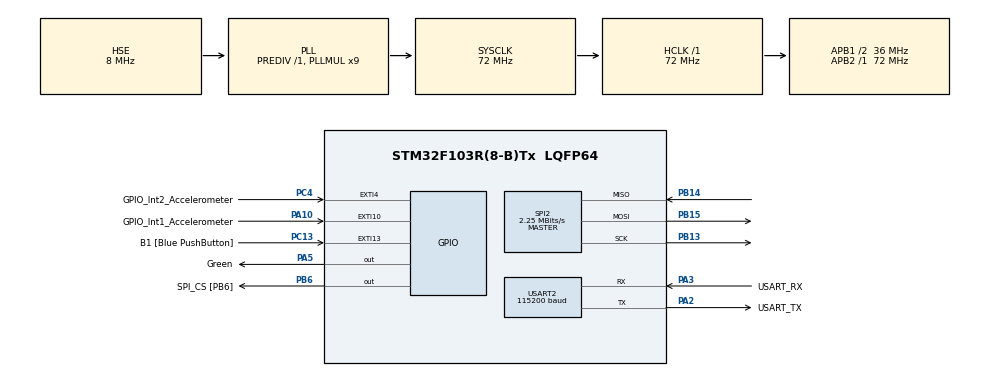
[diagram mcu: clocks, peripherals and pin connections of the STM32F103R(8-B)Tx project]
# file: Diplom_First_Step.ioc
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Dma.Request0=SPI2_RX
Dma.Request1=SPI2_TX
Dma.SPI2_RX.0.Direction=DMA_PERIPH_TO_MEMORY
Dma.SPI2_RX.0.Instance=DMA1_Channel4
Dma.SPI2_RX.0.MemDataAlignment=DMA_MDATAALIGN_BYTE
Dma.SPI2_RX.0.MemInc=DMA_MINC_ENABLE
Dma.SPI2_RX.0.Mode=DMA_NORMAL
Dma.SPI2_RX.0.PeriphDataAlignment=DMA_PDATAALIGN_BYTE
Dma.SPI2_RX.0.PeriphInc=DMA_PINC_DISABLE
Dma.SPI2_RX.0.Priority=DMA_PRIORITY_LOW
Dma.SPI2_TX.1.Direction=DMA_MEMORY_TO_PERIPH
Dma.SPI2_TX.1.Instance=DMA1_Channel5
Dma.SPI2_TX.1.MemDataAlignment=DMA_MDATAALIGN_BYTE
Dma.SPI2_TX.1.MemInc=DMA_MINC_ENABLE
Dma.SPI2_TX.1.Mode=DMA_NORMAL
Dma.SPI2_TX.1.PeriphDataAlignment=DMA_PDATAALIGN_BYTE
Dma.SPI2_TX.1.PeriphInc=DMA_PINC_DISABLE
Dma.SPI2_TX.1.Priority=DMA_PRIORITY_LOW
FREERTOS.Tasks01=defaultTask,1,128,Settings_Controll_Task,Default,NULL,Dynamic,NULL,NULL
FREERTOS.configTOTAL_HEAP_SIZE=15700
FREERTOS.configUSE_COUNTING_SEMAPHORES=1
FREERTOS.configUSE_MALLOC_FAILED_HOOK=1
FREERTOS.configUSE_NEWLIB_REENTRANT=1
Mcu.Family=STM32F1
Mcu.Name=STM32F103R(8-B)Tx
Mcu.Package=LQFP64
NVIC.DMA1_Channel4_IRQn=true\:5\:0\:false\:false\:true\:true\:false\:true
NVIC.DMA1_Channel5_IRQn=true\:5\:0\:false\:false\:true\:true\:false\:true
NVIC.EXTI15_10_IRQn=true\:5\:0\:false\:false\:true\:true\:true\:true
NVIC.PriorityGroup=NVIC_PRIORITYGROUP_4
NVIC.SPI2_IRQn=true\:5\:0\:false\:false\:true\:true\:true\:true
NVIC.TIM4_IRQn=true\:15\:0\:false\:false\:true\:false\:false\:true
NVIC.TimeBase=TIM4_IRQn
NVIC.TimeBaseIP=TIM4
NVIC.USART2_IRQn=true\:5\:0\:false\:false\:true\:true\:true\:true
PA10.GPIO_Label=GPIO_Int1_Accelerometer
PA10.Signal=GPXTI10
PA13.GPIO_Label=TMS
PA13.Mode=Serial_Wire
PA13.Signal=SYS_JTMS-SWDIO
PA14.GPIO_Label=TCK
PA14.Mode=Serial_Wire
PA14.Signal=SYS_JTCK-SWCLK
PA2.GPIO_Label=USART_TX
PA2.GPIO_Mode=GPIO_MODE_AF_PP
PA2.GPIO_PuPd=GPIO_NOPULL
PA2.GPIO_Speed=GPIO_SPEED_FREQ_LOW
PA2.Mode=Asynchronous
PA2.Signal=USART2_TX
PA3.GPIO_Label=USART_RX
PA3.GPIO_Mode=GPIO_MODE_AF_PP
PA3.GPIO_PuPd=GPIO_NOPULL
PA3.GPIO_Speed=GPIO_SPEED_FREQ_LOW
PA3.Mode=Asynchronous
PA3.Signal=USART2_RX
PA5.GPIO_Label=Green
PA5.Signal=GPIO_Output
PB13.Mode=Full_Duplex_Master
PB13.Signal=SPI2_SCK
PB14.Mode=Full_Duplex_Master
PB14.Signal=SPI2_MISO
PB15.Mode=Full_Duplex_Master
PB15.Signal=SPI2_MOSI
PB3.GPIO_Label=SWO
PB3.Signal=SYS_JTDO-TRACESWO
PB6.GPIO_Label=SPI_CS [PB6]
PB6.GPIO_ModeDefaultOutputPP=GPIO_MODE_OUTPUT_PP
PB6.GPIO_Speed=GPIO_SPEED_FREQ_HIGH
PB6.Signal=GPIO_Output
PC13-TAMPER-RTC.GPIO_Label=B1 [Blue PushButton]
PC13-TAMPER-RTC.GPIO_PuPd=GPIO_NOPULL
PC13-TAMPER-RTC.Signal=GPXTI13
PC14-OSC32_IN.Mode=LSE-External-Oscillator
PC14-OSC32_IN.Signal=RCC_OSC32_IN
PC15-OSC32_OUT.Mode=LSE-External-Oscillator
PC15-OSC32_OUT.Signal=RCC_OSC32_OUT
PC4.GPIO_Label=GPIO_Int2_Accelerometer
PC4.Signal=GPXTI4
PD0-OSC_IN.Mode=HSE-External-Clock-Source
PD0-OSC_IN.Signal=RCC_OSC_IN
PD1-OSC_OUT.Mode=HSE-External-Clock-Source
PD1-OSC_OUT.Signal=RCC_OSC_OUT
ProjectManager.HeapSize=0x800
ProjectManager.StackSize=0x8000
ProjectManager.TargetToolchain=STM32CubeIDE
RCC.AHBFreq_Value=72000000
RCC.APB1CLKDivider=RCC_HCLK_DIV2
RCC.APB1Freq_Value=36000000
RCC.APB1TimFreq_Value=72000000
RCC.APB2Freq_Value=72000000
RCC.APB2TimFreq_Value=72000000
RCC.HCLKFreq_Value=72000000
RCC.PLLMUL=RCC_PLL_MUL9
RCC.PLLSourceVirtual=RCC_PLLSOURCE_HSE
RCC.RTCClockSelection=RCC_RTCCLKSOURCE_LSE
RCC.SYSCLKFreq_VALUE=72000000
RCC.SYSCLKSource=RCC_SYSCLKSOURCE_PLLCLK
RCC.USBFreq_Value=72000000
SPI2.BaudRatePrescaler=SPI_BAUDRATEPRESCALER_16
SPI2.CLKPhase=SPI_PHASE_2EDGE
SPI2.CLKPolarity=SPI_POLARITY_HIGH
SPI2.CalculateBaudRate=2.25 MBits/s
SPI2.Direction=SPI_DIRECTION_2LINES
SPI2.Mode=SPI_MODE_MASTER
SPI2.VirtualType=VM_MASTER
USART2.BaudRate=115200
USART2.VirtualMode=VM_ASYNC
VP_FREERTOS_VS_CMSIS_V1.Mode=CMSIS_V1
VP_SYS_VS_tim4.Mode=TIM4
board=NUCLEO-F103RB

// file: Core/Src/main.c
/* USER CODE BEGIN Header */
/**
  ******************************************************************************
  * @file           : main.c
  * @brief          : Main program body
  ******************************************************************************
  * @attention
  *
  * <h2><center>&copy; Copyright (c) 2021 STMicroelectronics.
  * All rights reserved.</center></h2>
  *
  * This software component is licensed by ST under BSD 3-Clause license,
  * the "License"; You may not use this file except in compliance with the
  * License. You may obtain a copy of the License at:
  *                        opensource.org/licenses/BSD-3-Clause
  *
  ******************************************************************************
  */
/*	Подключение акселерометра к микроконтроллеру
 * 	Акселерометр 	STM32F103RB - NUCLEO_F103RB
 * 		GND					   GND
 * 		VCC				   CN07 - PIN16
 * 		CS				   CN10 - PIN17
 * 	   INT1				   ------------
 * 	   INT2				   ------------
 * 	  	SDO				   CN10 - PIN13
 * 		SDA				   CN10 - PIN15
 * 		SCL				   CN10 - PIN11
 *
 */
/* USER CODE END Header */
#include "main.h"
#include "cmsis_os.h"

/* USER CODE BEGIN Includes */

/*	HAL_FREERTOS	*/
#include 	"exti_freertos.h"
#include 	"uart_cobs_service.h"
#include 	"uart_freertos.h"
/*	Acceleration sensor	*/
#include 	"adxl345.h"
#include 	"adxl345_rtos.h"
/*	Task	*/
#include 	"Collector_Math_Task.h"

//#define 	Debug_Active

#ifdef 		Debug_Active
	#include 	"stdio.h"
	#include 	<string.h>
#endif
/* USER CODE END Includes */

SPI_HandleTypeDef hspi2;
DMA_HandleTypeDef hdma_spi2_rx;
DMA_HandleTypeDef hdma_spi2_tx;

UART_HandleTypeDef huart2;

osThreadId defaultTaskHandle;
/* USER CODE BEGIN PV */

uart_cobs_service_t 		Cobs_UART;

adxl345_handle_t 			hadxl_settings;
adxl345_task_handle_t 		hadxl_task;
spi_freertos_t				spi_rtos;
User_Data_Settings_TypeDef  Setting_TypeDef;

/* USER CODE END PV */

void SystemClock_Config(void);
static void MX_GPIO_Init(void);
static void MX_USART2_UART_Init(void);
static void MX_DMA_Init(void);
static void MX_SPI2_Init(void);
void Settings_Controll_Task(void const * argument);

int main(void)
{

  /* MCU Configuration--------------------------------------------------------*/

  /* Reset of all peripherals, Initializes the Flash interface and the Systick. */
  HAL_Init();

  /* Configure the system clock */
  SystemClock_Config();

  /* Initialize all configured peripherals */
  MX_GPIO_Init();
  MX_USART2_UART_Init();
  MX_DMA_Init();
  MX_SPI2_Init();

  /* Create the thread(s) */
  /* definition and creation of defaultTask */
  osThreadDef(defaultTask, Settings_Controll_Task, osPriorityAboveNormal, 0, 128);
  defaultTaskHandle = osThreadCreate(osThread(defaultTask), NULL);

  /* Start scheduler */
  osKernelStart();

  /* We should never get here as control is now taken by the scheduler */
  /* Infinite loop */
  while (1)
  {

  }
}

void SystemClock_Config(void)
{
  RCC_OscInitTypeDef RCC_OscInitStruct = {0};
  RCC_ClkInitTypeDef RCC_ClkInitStruct = {0};

  /** Initializes the RCC Oscillators according to the specified parameters
  * in the RCC_OscInitTypeDef structure.
  */
  RCC_OscInitStruct.OscillatorType = RCC_OSCILLATORTYPE_HSE;
  RCC_OscInitStruct.HSEState = RCC_HSE_BYPASS;
  RCC_OscInitStruct.HSEPredivValue = RCC_HSE_PREDIV_DIV1;
  RCC_OscInitStruct.HSIState = RCC_HSI_ON;
  RCC_OscInitStruct.PLL.PLLState = RCC_PLL_ON;
  RCC_OscInitStruct.PLL.PLLSource = RCC_PLLSOURCE_HSE;
  RCC_OscInitStruct.PLL.PLLMUL = RCC_PLL_MUL9;
  if (HAL_RCC_OscConfig(&RCC_OscInitStruct) != HAL_OK)
  {
    Error_Handler();
  }
  /** Initializes the CPU, AHB and APB buses clocks
  */
  RCC_ClkInitStruct.ClockType = RCC_CLOCKTYPE_HCLK|RCC_CLOCKTYPE_SYSCLK
                              |RCC_CLOCKTYPE_PCLK1|RCC_CLOCKTYPE_PCLK2;
  RCC_ClkInitStruct.SYSCLKSource = RCC_SYSCLKSOURCE_PLLCLK;
  RCC_ClkInitStruct.AHBCLKDivider = RCC_SYSCLK_DIV1;
  RCC_ClkInitStruct.APB1CLKDivider = RCC_HCLK_DIV2;
  RCC_ClkInitStruct.APB2CLKDivider = RCC_HCLK_DIV1;

  if (HAL_RCC_ClockConfig(&RCC_ClkInitStruct, FLASH_LATENCY_2) != HAL_OK)
  {
    Error_Handler();
  }
}

static void MX_SPI2_Init(void)
{

  /* SPI2 parameter configuration*/
  hspi2.Instance = SPI2;
  hspi2.Init.Mode = SPI_MODE_MASTER;
  hspi2.Init.Direction = SPI_DIRECTION_2LINES;
  hspi2.Init.DataSize = SPI_DATASIZE_8BIT;
  hspi2.Init.CLKPolarity = SPI_POLARITY_HIGH;
  hspi2.Init.CLKPhase = SPI_PHASE_2EDGE;
  hspi2.Init.NSS = SPI_NSS_SOFT;
  hspi2.Init.BaudRatePrescaler = SPI_BAUDRATEPRESCALER_16;
  hspi2.Init.FirstBit = SPI_FIRSTBIT_MSB;
  hspi2.Init.TIMode = SPI_TIMODE_DISABLE;
  hspi2.Init.CRCCalculation = SPI_CRCCALCULATION_DISABLE;
  hspi2.Init.CRCPolynomial = 10;
  if (HAL_SPI_Init(&hspi2) != HAL_OK)
  {
    Error_Handler();
  }

}

static void MX_USART2_UART_Init(void)
{

  huart2.Instance = USART2;
  huart2.Init.BaudRate = 115200;
  huart2.Init.WordLength = UART_WORDLENGTH_8B;
  huart2.Init.StopBits = UART_STOPBITS_1;
  huart2.Init.Parity = UART_PARITY_NONE;
  huart2.Init.Mode = UART_MODE_TX_RX;
  huart2.Init.HwFlowCtl = UART_HWCONTROL_NONE;
  huart2.Init.OverSampling = UART_OVERSAMPLING_16;
  if (HAL_UART_Init(&huart2) != HAL_OK)
  {
    Error_Handler();
  }

}

static void MX_DMA_Init(void)
{

  /* DMA controller clock enable */
  __HAL_RCC_DMA1_CLK_ENABLE();

  /* DMA interrupt init */
  /* DMA1_Channel4_IRQn interrupt configuration */
  HAL_NVIC_SetPriority(DMA1_Channel4_IRQn, 5, 0);
  HAL_NVIC_EnableIRQ(DMA1_Channel4_IRQn);
  /* DMA1_Channel5_IRQn interrupt configuration */
  HAL_NVIC_SetPriority(DMA1_Channel5_IRQn, 5, 0);
  HAL_NVIC_EnableIRQ(DMA1_Channel5_IRQn);

}

static void MX_GPIO_Init(void)
{
  GPIO_InitTypeDef GPIO_InitStruct = {0};

  /* GPIO Ports Clock Enable */
  __HAL_RCC_GPIOC_CLK_ENABLE();
  __HAL_RCC_GPIOD_CLK_ENABLE();
  __HAL_RCC_GPIOA_CLK_ENABLE();
  __HAL_RCC_GPIOB_CLK_ENABLE();

  /*Configure GPIO pin Output Level */
  HAL_GPIO_WritePin(Green_GPIO_Port, Green_Pin, GPIO_PIN_RESET);

  /*Configure GPIO pin Output Level */
  HAL_GPIO_WritePin(SPI_CS_GPIO_Port, SPI_CS_Pin, GPIO_PIN_RESET);

  /*Configure GPIO pins : B1_Pin GPIO_Int2_Accelerometer_Pin */
  GPIO_InitStruct.Pin = B1_Pin|GPIO_Int2_Accelerometer_Pin;
  GPIO_InitStruct.Mode = GPIO_MODE_IT_RISING;
  GPIO_InitStruct.Pull = GPIO_NOPULL;
  HAL_GPIO_Init(GPIOC, &GPIO_InitStruct);

  /*Configure GPIO pin : Green_Pin */
  GPIO_InitStruct.Pin = Green_Pin;
  GPIO_InitStruct.Mode = GPIO_MODE_OUTPUT_PP;
  GPIO_InitStruct.Pull = GPIO_NOPULL;
  GPIO_InitStruct.Speed = GPIO_SPEED_FREQ_LOW;
  HAL_GPIO_Init(Green_GPIO_Port, &GPIO_InitStruct);

  /*Configure GPIO pin : GPIO_Int1_Accelerometer_Pin */
  GPIO_InitStruct.Pin = GPIO_Int1_Accelerometer_Pin;
  GPIO_InitStruct.Mode = GPIO_MODE_IT_RISING;
  GPIO_InitStruct.Pull = GPIO_NOPULL;
  HAL_GPIO_Init(GPIO_Int1_Accelerometer_GPIO_Port, &GPIO_InitStruct);

  /*Configure GPIO pin : SPI_CS_Pin */
  GPIO_InitStruct.Pin = SPI_CS_Pin;
  GPIO_InitStruct.Mode = GPIO_MODE_OUTPUT_PP;
  GPIO_InitStruct.Pull = GPIO_NOPULL;
  GPIO_InitStruct.Speed = GPIO_SPEED_FREQ_HIGH;
  HAL_GPIO_Init(SPI_CS_GPIO_Port, &GPIO_InitStruct);

  /* EXTI interrupt init*/
  HAL_NVIC_SetPriority(EXTI15_10_IRQn, 5, 0);
  HAL_NVIC_EnableIRQ(EXTI15_10_IRQn);

}

/* USER CODE BEGIN 4 */

/*void HAL_GPIO_EXTI_Callback(uint16_t GPIO_Pin)
{
	if(GPIO_Pin == GPIO_Int1_Accelerometer_Pin)
	{
		adxl345_int2(GPIO_Int1_Accelerometer_Pin, NULL);
	}
}*/
/* USER CODE END 4 */

void Settings_Controll_Task(void const * argument)
{
  /* USER CODE BEGIN 5 */
	//-----------------------------------------------------------------------------------------------//
	//---------------------------Base Configuration Accelerometr Struct------------------------------//
	//---------------------------**************************************------------------------------//
	//										SPI CONFIG												 //
	//***********************************************************************************************//
	hadxl_settings.spi.spi_rtos			=	&spi_rtos;
	hadxl_settings.spi.spi_rtos->hspi	=	&hspi2;
	if(spi_freertos_init(hadxl_settings.spi.spi_rtos) == SPI_FREERTOS_EXIST)
	{
		Error_Handler();
	}
	hadxl_settings.spi.nss.pin			=	SPI_CS_Pin;
	hadxl_settings.spi.nss.port 		=	SPI_CS_GPIO_Port;
	//***********************************************************************************************//
	//							        Format Read Accelertion										 //
	//***********************************************************************************************//
	hadxl_settings.settings.align		=	ADXL345_ALIGN_LSB;
	hadxl_settings.settings.resolution	=	ADXL345_RESOLUTION_FULL;
	//***********************************************************************************************//
	//							   Settings FIFO Buffer in accelerometr								 //
	//***********************************************************************************************//
	hadxl_settings.
				settings.fifo_watermark =	0x25;
	hadxl_settings.settings.fifo_mode 	=	ADXL345_FIFO_FIFO;
	hadxl_settings.settings.fifo_trigger=	ADXL345_FIFO_TRIG_INT1;
	//***********************************************************************************************//
	//					Interrupt Settings, GPIO Configuration, FREERTOS Controll					 //
	//***********************************************************************************************//
	hadxl_settings.settings.int_en 		=	ADXL345_INT_WATERMARK | ADXL345_INT_OVERRUN;
	hadxl_settings.settings.map_to_int2	=  ~ADXL345_INT_WATERMARK & ADXL345_INT_OVERRUN;
	hadxl_settings.int1.pin 			=	GPIO_Int1_Accelerometer_Pin;
	hadxl_settings.int1.port			=	GPIO_Int1_Accelerometer_GPIO_Port;
	hadxl_settings.int2.pin 			=	GPIO_Int2_Accelerometer_Pin;
	hadxl_settings.int2.port			=	GPIO_Int2_Accelerometer_GPIO_Port;
	hadxl_settings.mutex_timeout 		=	100;
	hadxl_settings.transfer_timeout 	=	100;
	//---------------------------**************************************------------------------------//
	//----------------------------Start Configure Settigs Task Struct--------------------------------//
	//-----------------------------------------------------------------------------------------------//
	Setting_TypeDef.Length_Realization	=	0;
	Setting_TypeDef.FStatus 			= 	Enable_Time;
	Setting_TypeDef.hadxl 				=	&hadxl_task;
					 hadxl_task.hadxl 	=	hadxl_settings;
					 hadxl_task.
					 	 fifo_frame_size=	128;
					 hadxl_task.
					 	 fifo_frame_qty =	2;
	Setting_TypeDef.TempStatus 			=	Temp_Enable;
	Setting_TypeDef.X_Axis  			=	Disable;
	Setting_TypeDef.Y_Axis  			=	Disable;
	Setting_TypeDef.Z_Axis  			=	Disable;
	Setting_TypeDef.Signal_Data			=	NULL;
	Setting_TypeDef.Furie_Compl			=	NULL;
	Setting_TypeDef.Furie				=	NULL;
	Setting_TypeDef.Envelope			=	NULL;
	Setting_TypeDef.Status_Signal 		=	Outage;
	Setting_TypeDef.Status_Furie 		=	Outage;
	Setting_TypeDef.Status_Envelope 	=	Outage;
	Setting_TypeDef.Cobs_UART			=	&Cobs_UART;
	//-----------------------------------------------------------------------------------------------//
	//--------------------------Create Buffer for Receive Data Settings------------------------------//
	//-------------------------*****************************************-----------------------------//
#define Size_Data_Settings_in_Bytes (uint8_t) 8	/*	2 bytes on length realization
	 	 	 	 	 	 	 	 	 	 	 	 *	1 bytes on mod measurments
	 	 	 	 	 	 	 	 	 	 	 	 *	1 bytes on status activity x_axis
	 	 	 	 	 	 	 	 	 	 	 	 *	1 bytes on status activity y_axis
	 	 	 	 	 	 	 	 	 	 	 	 *	1 bytes on status activity z_axis
	 	 	 	 	 	 	 	 	 	 	 	 *	1 bytes on frequensy discretisation
	 	 	 	 	 	 	 	 	 	 	 	 *	1 bytes on range measure acceleration
	 	 	 	 	 	 	 	 	 	 	 	 */
	uint8_t Receive_Data_Settings[Size_Data_Settings_in_Bytes]
								  	  	=	{0};
	//***********************************************************************************************//
	//						   Configuration and create task reseive data							 //
	//***********************************************************************************************//
	Cobs_UART.huart						=	(uart_freertos_t*) pvPortMalloc(sizeof(uart_freertos_t));
	uart_freertos_init(					Cobs_UART.huart
					  );
	Cobs_UART.max_frame_size 			=	(size_t) Size_Data_Settings_in_Bytes;
	Cobs_UART.huart -> huart			=	(UART_HandleTypeDef *) &huart2;
	Cobs_UART.queue_depth 				=	3;
	Cobs_UART.mode 						=	UART_COBS_INTERRUPT;
	uart_cobs_service_rx_create(		"Task_uart_cobs_service_rx",
										osPriorityHigh,
										0,
										128,
										&Cobs_UART
								);
	//-------------------------******************************************----------------------------//
	//----------------------Brains Setting, Reseive, Create and Delete Tasks-------------------------//
	//-------------------------******************************************----------------------------//
	//									Start Configure Accelerometr 								 //
	//***********************************************************************************************//
	hadxl_settings.settings.data_rate	=	ADXL345_DATARATE_0_10_HZ;
	hadxl_settings.settings.meas_range	=	ADXL345_RANGE_2_G;

	//								НАП�?САТЬ КОД СТАРТОВОЙ КОНФ�?ГУРАЦ�?�?

	hadxl_settings.settings.offset.x	=	0;
	hadxl_settings.settings.offset.y	=	0;
	hadxl_settings.settings.offset.z 	=	0;
	/* Initializing ADXL345 */
	if(adxl345_init(&(hadxl_settings)) != ADXL345_OK)
		Error_Handler();
	//-----------------------------------------------------------------------------------------------//
	//----------------------------------Create Mutex Failed Memoru-----------------------------------//
	//-----------------------------------------------------------------------------------------------//
	Create_Mutex_Malloc_Failed(&Cobs_UART);
	//-------------------------******************************************----------------------------//
	while(1)
	{
		//uart_cobs_recv(&Cobs_UART,  (void **)  &Receive_Data_Settings, portMAX_DELAY);
		Read_Mutex_Malloc_Failed();
		//uint16_t *pLength_Relization 	=	(uint16_t *) 						Receive_Data_Settings;
		Setting_TypeDef.Length_Realization
										=	256;//*pLength_Relization;
		Setting_TypeDef.FStatus 		=	(Furie_Task_Status_TypeDef)   		0;//*(Receive_Data_Settings + 2);
		Setting_TypeDef.X_Axis 			=	(Measurement_Axis_Status_TypeDef)	1;//*(Receive_Data_Settings + 3);
		Setting_TypeDef.Y_Axis 			=	(Measurement_Axis_Status_TypeDef)	0;//*(Receive_Data_Settings + 4);
		Setting_TypeDef.Z_Axis 			=	(Measurement_Axis_Status_TypeDef)	0;//*(Receive_Data_Settings + 5);
		Setting_TypeDef.hadxl->hadxl.settings.data_rate
										=	(adxl345_data_rate_t) 				12;//*(Receive_Data_Settings + 6);
		Setting_TypeDef.hadxl->hadxl.settings.meas_range
										=	(adxl345_range_t) 					3;//*(Receive_Data_Settings + 7);
		//-----------------------------------------------------------------------------------------------//
		//                                         FREE MEMORY                                           //
		//---------------------------------***************************-----------------------------------//
		//                                        STOP INTERUPT                                    	     //
		//***********************************************************************************************//
		taskENTER_CRITICAL();
		//				SIGNALS_BUFFER 				//
		Free_RTOS_Buffer((const void *) Setting_TypeDef.Signal_Data);
		Free_RTOS_Buffer((const void *) Setting_TypeDef.Furie_Compl);
		Free_RTOS_Buffer((const void *) Setting_TypeDef.Furie);
		Free_RTOS_Buffer((const void *) Setting_TypeDef.Envelope);

		//***********************************************************************************************//
		//                                 DELETE UART TRANSMIT TASK                                     //
		//***********************************************************************************************//
		uart_cobs_service_tx_free();
		Free_RTOS_Buffer((const void *) Cobs_UART.input_queue);
		if (Cobs_UART.Transmit_Ready != NULL)
		{
			vSemaphoreDelete(Cobs_UART.Transmit_Ready);
		}
		//***********************************************************************************************//
		//                                 DELETE ACCELEROMETER TASK                                     //
		//***********************************************************************************************//
		adxl345_task_free();
		if (hadxl_task.fifo_frame_ptr_queue != NULL)
		{
			vQueueDelete(hadxl_task.fifo_frame_ptr_queue);
		}
		if (hadxl_task.suspend_notify != NULL)
		{
			vSemaphoreDelete(hadxl_task.suspend_notify);
		}
		//***********************************************************************************************//
		//                                    DELETE COLLECTOR TASK                                      //
		//***********************************************************************************************//
		Data_Collector_free();
		if (Setting_TypeDef.Status_Signal_Ready != NULL)
		{
			vSemaphoreDelete(Setting_TypeDef.Status_Signal_Ready);
		}
		//***********************************************************************************************//
		//                                      DELETE FURIE TASK                                        //
		//***********************************************************************************************//
		Furie_Transform_free();
		if (Setting_TypeDef.Status_Furie_Ready != NULL)
		{
			vSemaphoreDelete(Setting_TypeDef.Status_Furie_Ready);
		}
		//***********************************************************************************************//
		//                                  RESUME ENABLE INTERUPT                                       //
		//***********************************************************************************************//
		taskEXIT_CRITICAL();
		//-----------------------------------------------------------------------------------------------//
		// 						    Configuration and create task transmit data                          //
		//-----------------------------------------------------------------------------------------------//
		Cobs_UART.queue_depth 			=	3;
		Cobs_UART.max_frame_size		=	4 * Setting_TypeDef.Length_Realization;
		Cobs_UART.Transmit_Ready 		= 	xSemaphoreCreateBinary();
		uart_cobs_service_tx_create(	"Task_uart_cobs_service_tx",
										osPriorityNormal,
										0,
										128,
										&Cobs_UART
									);

		if(Read_Mutex_Malloc_Failed() == pdPASS)
		{
			continue;
		}
		//-----------------------------------------------------------------------------------------------//
		//                           CREATE TASK AND INFORMATION FOR SIGNAL                              //
		//-----------------------------------------------------------------------------------------------//
		hadxl_task.fifo_frame_qty	 	=	2;
		hadxl_task.fifo_frame_size		=	(size_t) 	(0.25 * Setting_TypeDef.Length_Realization /
													    /*----------------------------------------*/
																 hadxl_task.fifo_frame_qty);
		adxl345_task_create(			"Task_ADXL345_RTOS",
										osPriorityNormal,
										0,
										128,
										&hadxl_task);
		if(Read_Mutex_Malloc_Failed() == pdPASS)
		{
			continue;
		}
		Data_Collector_create(		"Task_Data_Collector_RTOS",
									osPriorityNormal,
									0,
									128,
									&Setting_TypeDef);
		if(Read_Mutex_Malloc_Failed() == pdPASS)
		{
			continue;
		}
		//-----------------------------------------------------------------------------------------------//
		//                           CREATE TASK AND INFORMATION FOR FURIE                               //
		//-----------------------------------------------------------------------------------------------//
		if (Setting_TypeDef.FStatus != Enable_Time)
		{
			Furie_Transform_create(		"Task_Furei_Calculation_RTOS",
										osPriorityNormal,
										0,
										128,
										&Setting_TypeDef);
		}
		osDelay(portMAX_DELAY);

	}
  /* USER CODE END 5 */
}

void HAL_TIM_PeriodElapsedCallback(TIM_HandleTypeDef *htim)
{
  if (htim->Instance == TIM4) {
    HAL_IncTick();
  }
}

void Error_Handler(void)
{
  __disable_irq();
  while (1)
  {
  }
}

/************************ (C) COPYRIGHT STMicroelectronics *****END OF FILE****/

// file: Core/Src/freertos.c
/* USER CODE BEGIN Header */
/**
  ******************************************************************************
  * File Name          : freertos.c
  * Description        : Code for freertos applications
  ******************************************************************************
  * @attention
  *
  * <h2><center>&copy; Copyright (c) 2022 STMicroelectronics.
  * All rights reserved.</center></h2>
  *
  * This software component is licensed by ST under Ultimate Liberty license
  * SLA0044, the "License"; You may not use this file except in compliance with
  * the License. You may obtain a copy of the License at:
  *                             www.st.com/SLA0044
  *
  ******************************************************************************
  */
/* USER CODE END Header */

#include "FreeRTOS.h"
#include "task.h"
#include "main.h"

/* GetIdleTaskMemory prototype (linked to static allocation support) */
void vApplicationGetIdleTaskMemory( StaticTask_t **ppxIdleTaskTCBBuffer, StackType_t **ppxIdleTaskStackBuffer, uint32_t *pulIdleTaskStackSize );

/* Hook prototypes */
void vApplicationMallocFailedHook(void);

/* USER CODE BEGIN 5 */
__weak void vApplicationMallocFailedHook(void)
{
   /* vApplicationMallocFailedHook() will only be called if
   configUSE_MALLOC_FAILED_HOOK is set to 1 in FreeRTOSConfig.h. It is a hook
   function that will get called if a call to pvPortMalloc() fails.
   pvPortMalloc() is called internally by the kernel whenever a task, queue,
   timer or semaphore is created. It is also called by various parts of the
   demo application. If heap_1.c or heap_2.c are used, then the size of the
   heap available to pvPortMalloc() is defined by configTOTAL_HEAP_SIZE in
   FreeRTOSConfig.h, and the xPortGetFreeHeapSize() API function can be used
   to query the size of free heap space that remains (although it does not
   provide information on how the remaining heap might be fragmented). */
}
/* USER CODE END 5 */

/* USER CODE BEGIN GET_IDLE_TASK_MEMORY */
static StaticTask_t xIdleTaskTCBBuffer;
static StackType_t xIdleStack[configMINIMAL_STACK_SIZE];

void vApplicationGetIdleTaskMemory( StaticTask_t **ppxIdleTaskTCBBuffer, StackType_t **ppxIdleTaskStackBuffer, uint32_t *pulIdleTaskStackSize )
{
  *ppxIdleTaskTCBBuffer = &xIdleTaskTCBBuffer;
  *ppxIdleTaskStackBuffer = &xIdleStack[0];
  *pulIdleTaskStackSize = configMINIMAL_STACK_SIZE;
  /* place for user code */
}
/* USER CODE END GET_IDLE_TASK_MEMORY */

/************************ (C) COPYRIGHT STMicroelectronics *****END OF FILE****/
